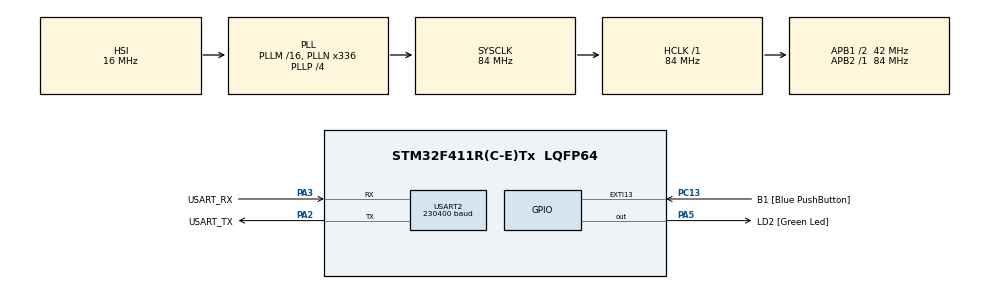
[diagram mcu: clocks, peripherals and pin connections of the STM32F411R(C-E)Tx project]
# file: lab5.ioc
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Mcu.Family=STM32F4
Mcu.Name=STM32F411R(C-E)Tx
Mcu.Package=LQFP64
NVIC.PriorityGroup=NVIC_PRIORITYGROUP_0
NVIC.USART2_IRQn=true\:0\:0\:false\:false\:true\:true\:true\:true
PA13.GPIO_Label=TMS
PA13.Mode=Serial_Wire
PA13.Signal=SYS_JTMS-SWDIO
PA14.GPIO_Label=TCK
PA14.Mode=Serial_Wire
PA14.Signal=SYS_JTCK-SWCLK
PA2.GPIO_Label=USART_TX
PA2.Mode=Asynchronous
PA2.Signal=USART2_TX
PA3.GPIO_Label=USART_RX
PA3.Mode=Asynchronous
PA3.Signal=USART2_RX
PA5.GPIO_Label=LD2 [Green Led]
PA5.Signal=GPIO_Output
PB3.GPIO_Label=SWO
PB3.Signal=SYS_JTDO-SWO
PC13-ANTI_TAMP.GPIO_Label=B1 [Blue PushButton]
PC13-ANTI_TAMP.GPIO_ModeDefaultEXTI=GPIO_MODE_IT_FALLING
PC13-ANTI_TAMP.Signal=GPXTI13
PC14-OSC32_IN.Mode=LSE-External-Oscillator
PC14-OSC32_IN.Signal=RCC_OSC32_IN
PC15-OSC32_OUT.Mode=LSE-External-Oscillator
PC15-OSC32_OUT.Signal=RCC_OSC32_OUT
PH0\ -\ OSC_IN.Mode=HSE-External-Clock-Source
PH0\ -\ OSC_IN.Signal=RCC_OSC_IN
PH1\ -\ OSC_OUT.Mode=HSE-External-Clock-Source
PH1\ -\ OSC_OUT.Signal=RCC_OSC_OUT
ProjectManager.HeapSize=0x200
ProjectManager.StackSize=0x400
ProjectManager.TargetToolchain=STM32CubeIDE
RCC.48MHZClocksFreq_Value=84000000
RCC.AHBFreq_Value=84000000
RCC.APB1CLKDivider=RCC_HCLK_DIV2
RCC.APB1Freq_Value=42000000
RCC.APB1TimFreq_Value=84000000
RCC.APB2Freq_Value=84000000
RCC.APB2TimFreq_Value=84000000
RCC.CortexFreq_Value=84000000
RCC.FLatency-AdvancedSettings=FLASH_LATENCY_2
RCC.HCLKFreq_Value=84000000
RCC.HSE_VALUE=8000000
RCC.HSI_VALUE=16000000
RCC.PLLN=336
RCC.PLLP=RCC_PLLP_DIV4
RCC.SYSCLKFreq_VALUE=84000000
RCC.SYSCLKSource=RCC_SYSCLKSOURCE_PLLCLK
RCC.VCOOutputFreq_Value=336000000
USART2.BaudRate=230400
USART2.VirtualMode=VM_ASYNC
board=NUCLEO-F411RE

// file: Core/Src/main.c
/* USER CODE BEGIN Header */
/**
 ******************************************************************************
 * @file           : main.c
 * @brief          : Main program body
 ******************************************************************************
 * @attention
 *
 * Copyright (c) 2023 STMicroelectronics.
 * All rights reserved.
 *
 * This software is licensed under terms that can be found in the LICENSE file
 * in the root directory of this software component.
 * If no LICENSE file comes with this software, it is provided AS-IS.
 *
 ******************************************************************************
 */
/* USER CODE END Header */
#include "main.h"

/* USER CODE BEGIN Includes */
#include "stdio.h"
#include "string.h"
/* USER CODE END Includes */

UART_HandleTypeDef huart2;

/* USER CODE BEGIN PV */
uint8_t RxBuffer[2];
uint8_t c=0;
uint8_t TxBuffer[100];
uint8_t Main[500] =
				"|-----------------------------------------------------|\r\n"
				"|                    Welcome to Menu                  |\r\n"
				"|               Press the number 1 or 0               |\r\n"
				"|-----------------------------------------------------|\r\n"
				"|<<<<<<<<<<<<<<< 0 for LED Control  >>>>>>>>>>>>>>>>>>|\r\n"
				"|<<<<<<<<<<<<<<< 1 for Check Button >>>>>>>>>>>>>>>>>>|\r\n"
				"|-----------------------------------------------------|\r\n";
uint8_t PageLED[700] =
				"|-----------------------------------------------------|\r\n"
				"|               Welcome to Led control                |\r\n"
		        "|               Select a,s,d,x for menu               |\r\n"
				"|-----------------------------------------------------|\r\n"
				"|                a : Speed +1 Hz                      |\r\n"
				"|                s : Speed -1 Hz                      |\r\n"
				"|                d : On / Off                         |\r\n"
		        "|                x : Go to Menu                       |\r\n"
				"|-----------------------------------------------------|\r\n";

uint8_t PageButton[300] =
				"|-----------------------------------------------------|\r\n"
				"|              Welcome to Check Button                |\r\n"
				"|         Press 'x' to get back to Menu               |\r\n"
				"|-----------------------------------------------------|\r\n";

int8_t Hz = 0;
int8_t BefHz = 0;
uint16_t mils = 0;
uint8_t PageState = 0;
uint8_t LedNow = 0;
uint8_t Button = 0;
uint8_t PreButton = 0;
uint8_t Press[20] = "ButtonPressed\r\n";
uint8_t unPress[20] = "ButtonUnpressed\r\n";

uint8_t OneTimePress = 0;
/* USER CODE END PV */

void SystemClock_Config(void);
static void MX_GPIO_Init(void);
static void MX_USART2_UART_Init(void);
/* USER CODE BEGIN PFP */

void UARTInterruptConfig();
/* USER CODE END PFP */

int main(void)
{

  /* MCU Configuration--------------------------------------------------------*/

  /* Reset of all peripherals, Initializes the Flash interface and the Systick. */
  HAL_Init();

  /* Configure the system clock */
  SystemClock_Config();

  /* Initialize all configured peripherals */
  MX_GPIO_Init();
  MX_USART2_UART_Init();
  /* USER CODE BEGIN 2 */

	UARTInterruptConfig();
  /* USER CODE END 2 */

  /* Infinite loop */
	while (1) {

    /* USER CODE BEGIN 3 */
		static uint32_t timestamp = 0;
		if (HAL_GetTick() > timestamp) {

			if (Hz > 0) {
				mils = 500 / Hz;
			} else {
				mils = 0;
			}
			timestamp = HAL_GetTick() + mils;

			if(LedNow == 0 || Hz == 0){
				HAL_GPIO_WritePin(LD2_GPIO_Port, LD2_Pin, RESET);
			}
			else{
				HAL_GPIO_TogglePin(LD2_GPIO_Port, LD2_Pin);
			}
		}

		switch (PageState) {

		case 0:

			HAL_UART_Transmit_IT(&huart2, Main, strlen((char*) Main));
			PageState = 1;
			break;
		case 1:
			if (c==1) {
				if(RxBuffer[0] == '0'){
								RxBuffer[0] = 0;
								PageState = 2;
							}
							else if(RxBuffer[0] == '1'){
								RxBuffer[0] = 0;
								PageState = 4;
							}
							else if (RxBuffer[0] != ' ' ){
								sprintf((char*) TxBuffer, " Wrong \r\n");
								HAL_UART_Transmit_IT(&huart2, TxBuffer, strlen((char*) TxBuffer));
								RxBuffer[0] = ' ';
								PageState=0;
							}
				c=0;
			}
			break;
		case 2:

			HAL_UART_Transmit_IT(&huart2, PageLED, strlen((char*) PageLED));
			PageState = 3;
			break;
		case 3:
			if ( c == 1) {
				if (RxBuffer[0] == 'a') {
								Hz += 1;
								BefHz += 1;

								sprintf((char*) TxBuffer, " BlinkHz %d\r\n", Hz);
								HAL_UART_Transmit_IT(&huart2, TxBuffer, strlen((char*) TxBuffer));
								PageState = 3;
								RxBuffer[0] = ' ';
							}
							else if (RxBuffer[0] == 's') {
								Hz -= 1;
								if(Hz <= 0){
									Hz = 0;
								}
								BefHz -= 1;
								if(BefHz <= 0){
									BefHz = 0;
								}
								sprintf((char*) TxBuffer, " BlinkHz %d\r\n", BefHz);
								HAL_UART_Transmit_IT(&huart2, TxBuffer, strlen((char*) TxBuffer));
								PageState = 3;
								RxBuffer[0] = ' ';

							}
							else if(RxBuffer[0] == 'd'){
								if(LedNow){
									LedNow = 0;
									RxBuffer[0] = ' ';
									Hz = 0;
									sprintf((char*) TxBuffer, " LED OFF \r\n");
									HAL_UART_Transmit_IT(&huart2, TxBuffer, strlen((char*) TxBuffer));
									HAL_GPIO_WritePin(LD2_GPIO_Port, LD2_Pin, SET);
								}
								else{
									LedNow = 1;
									RxBuffer[0] = ' ';
									Hz = BefHz;
									sprintf((char*) TxBuffer, " LED ON \r\n");
									HAL_UART_Transmit_IT(&huart2, TxBuffer, strlen((char*) TxBuffer));
								}
							}
							else if(RxBuffer[0] == 'x'){
								RxBuffer[0] = 0;
								PageState = 0;
							}
							else if (RxBuffer[0] != ' ' ){
								sprintf((char*) TxBuffer, " Wrong \r\n");
								HAL_UART_Transmit_IT(&huart2, TxBuffer, strlen((char*) TxBuffer));
								RxBuffer[0] = ' ';
								PageState=2;
							}
				c=0;
			}
			break;
		case 4:
			HAL_UART_Transmit_IT(&huart2, PageButton, strlen((char*) PageButton));
			PageState = 5;
			break;
		case 5:
			if (c==1) {
				Button = HAL_GPIO_ReadPin(GPIOC, GPIO_PIN_13);
							if(Button == 1 && PreButton == 0){
								HAL_UART_Transmit_IT(&huart2, unPress, strlen((char*) unPress));
								OneTimePress = 0;
							}
							else if(Button == 0 && PreButton == 0){
								if(!OneTimePress){
									HAL_UART_Transmit_IT(&huart2, Press, strlen((char*) Press));
									OneTimePress = 1;
								}
							}
							else if (RxBuffer[0] == 'x'){
								RxBuffer[0] = 0;
								PageState = 0;
							}
							else if (RxBuffer[0] != ' ' ){
								sprintf((char*) TxBuffer, " Wrongbutton  \r\n");
								HAL_UART_Transmit_IT(&huart2, TxBuffer, strlen((char*) TxBuffer));
								RxBuffer[0] = ' ';
								PageState=4;

							}
							PreButton = Button;
			}
			c=0;
			break;
		}

	}
  /* USER CODE END 3 */
}

void SystemClock_Config(void)
{
  RCC_OscInitTypeDef RCC_OscInitStruct = {0};
  RCC_ClkInitTypeDef RCC_ClkInitStruct = {0};

  /** Configure the main internal regulator output voltage
  */
  __HAL_RCC_PWR_CLK_ENABLE();
  __HAL_PWR_VOLTAGESCALING_CONFIG(PWR_REGULATOR_VOLTAGE_SCALE1);

  /** Initializes the RCC Oscillators according to the specified parameters
  * in the RCC_OscInitTypeDef structure.
  */
  RCC_OscInitStruct.OscillatorType = RCC_OSCILLATORTYPE_HSI;
  RCC_OscInitStruct.HSIState = RCC_HSI_ON;
  RCC_OscInitStruct.HSICalibrationValue = RCC_HSICALIBRATION_DEFAULT;
  RCC_OscInitStruct.PLL.PLLState = RCC_PLL_ON;
  RCC_OscInitStruct.PLL.PLLSource = RCC_PLLSOURCE_HSI;
  RCC_OscInitStruct.PLL.PLLM = 16;
  RCC_OscInitStruct.PLL.PLLN = 336;
  RCC_OscInitStruct.PLL.PLLP = RCC_PLLP_DIV4;
  RCC_OscInitStruct.PLL.PLLQ = 4;
  if (HAL_RCC_OscConfig(&RCC_OscInitStruct) != HAL_OK)
  {
    Error_Handler();
  }

  /** Initializes the CPU, AHB and APB buses clocks
  */
  RCC_ClkInitStruct.ClockType = RCC_CLOCKTYPE_HCLK|RCC_CLOCKTYPE_SYSCLK
                              |RCC_CLOCKTYPE_PCLK1|RCC_CLOCKTYPE_PCLK2;
  RCC_ClkInitStruct.SYSCLKSource = RCC_SYSCLKSOURCE_PLLCLK;
  RCC_ClkInitStruct.AHBCLKDivider = RCC_SYSCLK_DIV1;
  RCC_ClkInitStruct.APB1CLKDivider = RCC_HCLK_DIV2;
  RCC_ClkInitStruct.APB2CLKDivider = RCC_HCLK_DIV1;

  if (HAL_RCC_ClockConfig(&RCC_ClkInitStruct, FLASH_LATENCY_2) != HAL_OK)
  {
    Error_Handler();
  }
}

static void MX_USART2_UART_Init(void)
{

  huart2.Instance = USART2;
  huart2.Init.BaudRate = 230400;
  huart2.Init.WordLength = UART_WORDLENGTH_8B;
  huart2.Init.StopBits = UART_STOPBITS_1;
  huart2.Init.Parity = UART_PARITY_NONE;
  huart2.Init.Mode = UART_MODE_TX_RX;
  huart2.Init.HwFlowCtl = UART_HWCONTROL_NONE;
  huart2.Init.OverSampling = UART_OVERSAMPLING_16;
  if (HAL_UART_Init(&huart2) != HAL_OK)
  {
    Error_Handler();
  }

}

static void MX_GPIO_Init(void)
{
  GPIO_InitTypeDef GPIO_InitStruct = {0};

  /* GPIO Ports Clock Enable */
  __HAL_RCC_GPIOC_CLK_ENABLE();
  __HAL_RCC_GPIOH_CLK_ENABLE();
  __HAL_RCC_GPIOA_CLK_ENABLE();
  __HAL_RCC_GPIOB_CLK_ENABLE();

  /*Configure GPIO pin Output Level */
  HAL_GPIO_WritePin(LD2_GPIO_Port, LD2_Pin, GPIO_PIN_RESET);

  /*Configure GPIO pin : B1_Pin */
  GPIO_InitStruct.Pin = B1_Pin;
  GPIO_InitStruct.Mode = GPIO_MODE_IT_FALLING;
  GPIO_InitStruct.Pull = GPIO_NOPULL;
  HAL_GPIO_Init(B1_GPIO_Port, &GPIO_InitStruct);

  /*Configure GPIO pin : LD2_Pin */
  GPIO_InitStruct.Pin = LD2_Pin;
  GPIO_InitStruct.Mode = GPIO_MODE_OUTPUT_PP;
  GPIO_InitStruct.Pull = GPIO_NOPULL;
  GPIO_InitStruct.Speed = GPIO_SPEED_FREQ_LOW;
  HAL_GPIO_Init(LD2_GPIO_Port, &GPIO_InitStruct);

}

/* USER CODE BEGIN 4 */
void UARTInterruptConfig() {
	HAL_UART_Receive_IT(&huart2, RxBuffer, 1);
}

void HAL_UART_RxCpltCallback(UART_HandleTypeDef *huart) {
	if (huart == &huart2) {
		RxBuffer[1] = '\0';

		sprintf((char*) TxBuffer, "Enter : %s\r\n", RxBuffer);
		HAL_UART_Transmit(&huart2, TxBuffer, strlen((char*) TxBuffer), 100);

		HAL_UART_Receive_IT(&huart2, RxBuffer, 1);
		c=1;
	}
}
/* USER CODE END 4 */

void Error_Handler(void)
{
	__disable_irq();
	while (1) {
	}
}
